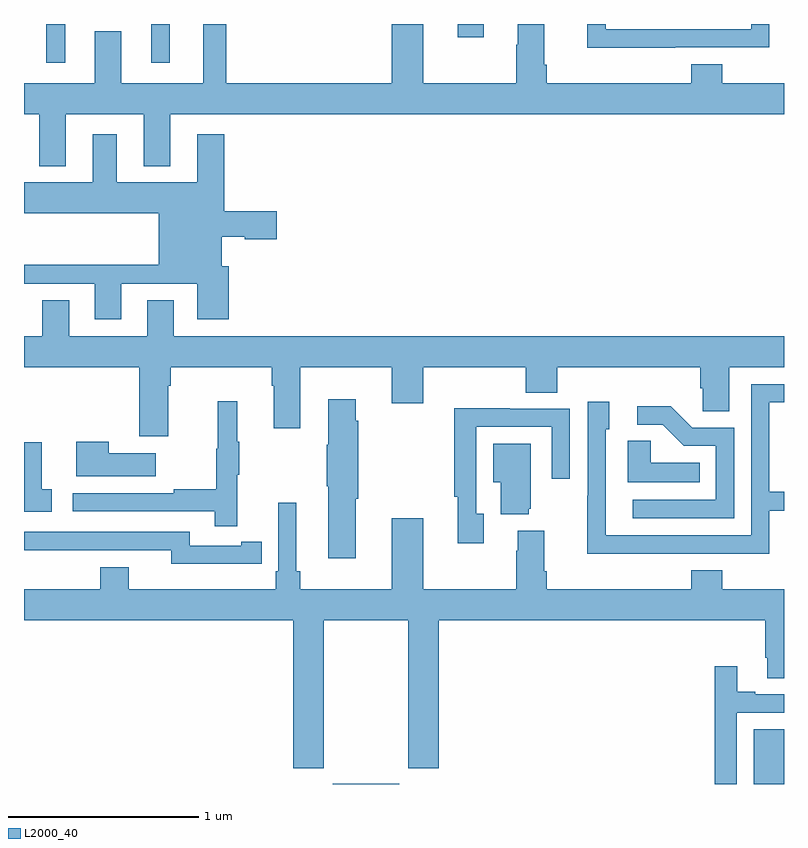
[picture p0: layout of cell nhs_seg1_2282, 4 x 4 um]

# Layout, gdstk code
import gdstk
lib = gdstk.Library(unit=1e-6, precision=1e-09)
def R(c, l, rs):  # rectangles x0, y0, x1, y1
    for r in rs: c.add(gdstk.rectangle(r[:2], r[2:], *l))
def P(c, l, *ps):  # polygons
    for p in ps: c.add(gdstk.Polygon(p, *l))
L2000_40 = (2000, 40)

nhs_seg1_2282 = lib.new_cell('nhs_seg1_2282')
R(nhs_seg1_2282, L2000_40, [(236.624,556.199,236.974,556.201), (238.841,556.199,239,556.486), (235.118,559.995,235.216,560.199), (235.67,559.995,235.768,560.199), (237.284,560.13,237.421,560.199)])
P(nhs_seg1_2282, L2000_40, [(235.631,559.451),(235.771,559.451),(235.771,559.724),(239,559.724),(239,559.888),(238.676,559.888),(238.676,559.987),(238.511,559.987),(238.511,559.888),(237.752,559.888),(237.752,559.984),(237.739,559.984),(237.739,560.197),(237.599,560.197),(237.599,560.09),(237.592,560.09),(237.592,559.888),(237.1,559.888),(237.1,560.199),(236.936,560.199),(236.936,559.888),(236.065,559.888),(236.065,560.199),(235.943,560.199),(235.943,559.888),(235.513,559.888),(235.513,560.161),(235.373,560.161),(235.373,559.888),(235,559.888),(235,559.724),(235.079,559.724),(235.079,559.451),(235.219,559.451),(235.219,559.724),(235.631,559.724)],
  [(238.427,560.076),(238.923,560.076),(238.923,560.199),(238.827,560.199),(238.827,560.172),(238.062,560.172),(238.062,560.199),(237.964,560.199),(237.964,560.075),(238.427,560.075)],
  [(235.513,558.831),(235.913,558.831),(235.913,558.645),(236.078,558.645),(236.078,558.924),(236.041,558.924),(236.041,559.079),(236.161,559.079),(236.161,559.067),(236.329,559.067),(236.329,559.214),(236.054,559.214),(236.054,559.618),(235.913,559.618),(235.913,559.366),(235.489,559.366),(235.489,559.618),(235.361,559.618),(235.361,559.366),(235,559.366),(235,559.202),(235.709,559.202),(235.709,558.932),(235,558.932),(235,558.831),(235.373,558.831),(235.373,558.645),(235.513,558.645)],
  [(235.759,558.296),(235.772,558.296),(235.772,558.392),(236.303,558.392),(236.303,558.296),(236.315,558.296),(236.315,558.072),(236.455,558.072),(236.455,558.392),(236.936,558.392),(236.936,558.204),(237.1,558.204),(237.1,558.392),(237.641,558.392),(237.641,558.259),(237.806,558.259),(237.806,558.392),(238.559,558.392),(238.559,558.283),(238.572,558.283),(238.572,558.16),(238.711,558.16),(238.711,558.392),(239,558.392),(239,558.556),(235.789,558.556),(235.789,558.746),(235.649,558.746),(235.649,558.556),(235.237,558.556),(235.237,558.746),(235.097,558.746),(235.097,558.556),(235,558.556),(235,558.392),(235.607,558.392),(235.607,558.03),(235.759,558.03)],
  [(238.427,557.412),(238.923,557.412),(238.923,557.637),(239,557.637),(239,557.738),(238.923,557.738),(238.923,558.207),(239,558.207),(239,558.303),(238.827,558.303),(238.827,557.508),(238.062,557.508),(238.062,558.066),(238.081,558.066),(238.081,558.211),(237.966,558.211),(237.966,557.717),(237.964,557.717),(237.964,557.411),(238.427,557.411)],
  [(236.746,557.7),(236.759,557.7),(236.759,558.11),(236.746,558.11),(236.746,558.223),(236.6,558.223),(236.6,557.984),(236.593,557.984),(236.593,557.767),(236.6,557.767),(236.6,557.388),(236.746,557.388)],
  [(236.123,557.827),(236.134,557.827),(236.134,558.001),(236.123,558.001),(236.123,558.214),(236.02,558.214),(236.02,557.964),(236.013,557.964),(236.013,557.75),(235.789,557.75),(235.789,557.73),(235.257,557.73),(235.257,557.634),(236.005,557.634),(236.005,557.556),(236.123,557.556)],
  [(238.737,558.075),(238.518,558.075),(238.405,558.188),(238.227,558.188),(238.227,558.09),(238.361,558.09),(238.472,557.979),(238.641,557.979),(238.641,557.694),(238.203,557.694),(238.203,557.598),(238.737,557.598)],
  [(237.421,557.622),(237.381,557.622),(237.381,558.078),(237.777,558.078),(237.777,557.805),(237.873,557.805),(237.873,558.174),(237.557,558.174),(237.557,558.176),(237.265,558.176),(237.265,557.71),(237.284,557.71),(237.284,557.466),(237.421,557.466)],
  [(238.556,557.89),(238.299,557.89),(238.299,558.005),(238.178,558.005),(238.178,557.786),(238.556,557.786)],
  [(235.693,557.941),(235.445,557.941),(235.445,558.001),(235.274,558.001),(235.274,557.819),(235.693,557.819)],
  [(235.147,557.751),(235.094,557.751),(235.094,557.998),(235,557.998),(235,557.631),(235.147,557.631)],
  [(237.656,557.649),(237.667,557.649),(237.667,557.989),(237.47,557.989),(237.47,557.786),(237.509,557.786),(237.509,557.618),(237.656,557.618)],
  [(236.417,556.281),(236.577,556.281),(236.577,557.06),(237.022,557.06),(237.022,556.281),(237.182,556.281),(237.182,557.06),(238.901,557.06),(238.901,556.864),(238.913,556.864),(238.913,556.756),(239,556.756),(239,557.224),(238.676,557.224),(238.676,557.323),(238.511,557.323),(238.511,557.224),(237.752,557.224),(237.752,557.32),(237.739,557.32),(237.739,557.533),(237.599,557.533),(237.599,557.426),(237.592,557.426),(237.592,557.224),(237.1,557.224),(237.1,557.599),(236.936,557.599),(236.936,557.224),(236.453,557.224),(236.453,557.32),(236.434,557.32),(236.434,557.68),(236.337,557.68),(236.337,557.32),(236.324,557.32),(236.324,557.224),(235.552,557.224),(235.552,557.341),(235.4,557.341),(235.4,557.224),(235,557.224),(235,557.06),(236.417,557.06)],
  [(236.144,557.358),(236.252,557.358),(236.252,557.474),(236.144,557.474),(236.144,557.454),(235.872,557.454),(235.872,557.526),(235,557.526),(235,557.429),(235.316,557.429),(235.316,557.43),(235.776,557.43),(235.776,557.357),(236.144,557.357)],
  [(238.752,556.575),(239,556.575),(239,556.671),(238.849,556.671),(238.849,556.684),(238.753,556.684),(238.753,556.819),(238.636,556.819),(238.636,556.199),(238.752,556.199)])

lib.write_gds('nhs_seg1_2282.gds')
